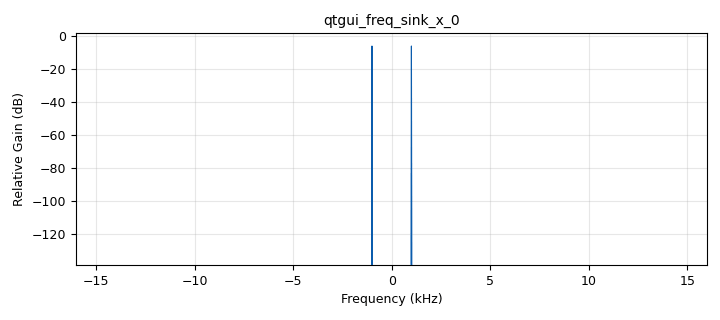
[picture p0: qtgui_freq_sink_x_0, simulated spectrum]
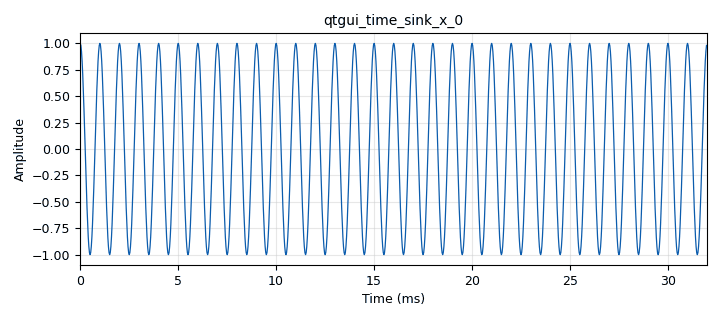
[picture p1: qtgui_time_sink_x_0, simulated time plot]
<?xml version='1.0' encoding='utf-8'?>
<?grc format='1' created='3.7.11'?>
<flow_graph>
<block>
<key>options</key>
<param><key>id</key><value>sineWaveFlowgraph</value></param>
<param><key>generate_options</key><value>qt_gui</value></param>
<param><key>title</key><value>Your FIrst Flowgraph</value></param>
</block>
<block>
<key>variable_qtgui_chooser</key>
<param><key>id</key><value>frequency</value></param>
<param><key>value</key><value>0</value></param>
<param><key>_enabled</key><value>0</value></param>
<param><key>label0</key><value>Frequency: 0</value></param>
<param><key>label1</key><value>Frequency: 1000</value></param>
<param><key>label2</key><value>Frequency: -2000</value></param>
<param><key>num_opts</key><value>3</value></param>
<param><key>option0</key><value>0</value></param>
<param><key>option1</key><value>1000</value></param>
<param><key>option2</key><value>-2000</value></param>
<param><key>type</key><value>int</value></param>
</block>
<block>
<key>variable_qtgui_range</key>
<param><key>id</key><value>frequency</value></param>
<param><key>value</key><value>1000</value></param>
<param><key>orient</key><value>Qt.Horizontal</value></param>
<param><key>start</key><value>-samp_rate/2</value></param>
<param><key>step</key><value>100</value></param>
<param><key>stop</key><value>+samp_rate/2</value></param>
</block>
<block>
<key>variable</key>
<param><key>id</key><value>frequency</value></param>
<param><key>_enabled</key><value>0</value></param>
<param><key>value</key><value>samp_rate/4</value></param>
</block>
<block>
<key>variable</key>
<param><key>id</key><value>samp_rate</value></param>
<param><key>value</key><value>32000</value></param>
</block>
<block>
<key>analog_sig_source_x</key>
<param><key>id</key><value>analog_sig_source_x_0</value></param>
<param><key>amp</key><value>1</value></param>
<param><key>freq</key><value>frequency</value></param>
<param><key>offset</key><value>0</value></param>
<param><key>type</key><value>float</value></param>
<param><key>samp_rate</key><value>samp_rate</value></param>
<param><key>waveform</key><value>analog.GR_COS_WAVE</value></param>
</block>
<block>
<key>blocks_throttle</key>
<param><key>id</key><value>blocks_throttle_0</value></param>
<param><key>samples_per_second</key><value>samp_rate</value></param>
<param><key>type</key><value>float</value></param>
</block>
<block>
<key>qtgui_freq_sink_x</key>
<param><key>id</key><value>qtgui_freq_sink_x_0</value></param>
<param><key>autoscale</key><value>True</value></param>
<param><key>bw</key><value>samp_rate</value></param>
<param><key>fc</key><value>0</value></param>
<param><key>ctrlpanel</key><value>True</value></param>
<param><key>fftsize</key><value>1024</value></param>
<param><key>showports</key><value>True</value></param>
<param><key>type</key><value>float</value></param>
<param><key>wintype</key><value>firdes.WIN_RECTANGULAR</value></param>
</block>
<block>
<key>qtgui_time_sink_x</key>
<param><key>id</key><value>qtgui_time_sink_x_0</value></param>
<param><key>autoscale</key><value>True</value></param>
<param><key>ctrlpanel</key><value>True</value></param>
<param><key>color1</key><value>"blue"</value></param>
<param><key>label1</key><value></value></param>
<param><key>size</key><value>1024</value></param>
<param><key>srate</key><value>samp_rate</value></param>
<param><key>type</key><value>float</value></param>
</block>
<connection><source_block_id>analog_sig_source_x_0</source_block_id><sink_block_id>blocks_throttle_0</sink_block_id><source_key>0</source_key><sink_key>0</sink_key></connection>
<connection><source_block_id>blocks_throttle_0</source_block_id><sink_block_id>qtgui_freq_sink_x_0</sink_block_id><source_key>0</source_key><sink_key>0</sink_key></connection>
<connection><source_block_id>blocks_throttle_0</source_block_id><sink_block_id>qtgui_time_sink_x_0</sink_block_id><source_key>0</source_key><sink_key>0</sink_key></connection>
</flow_graph>
